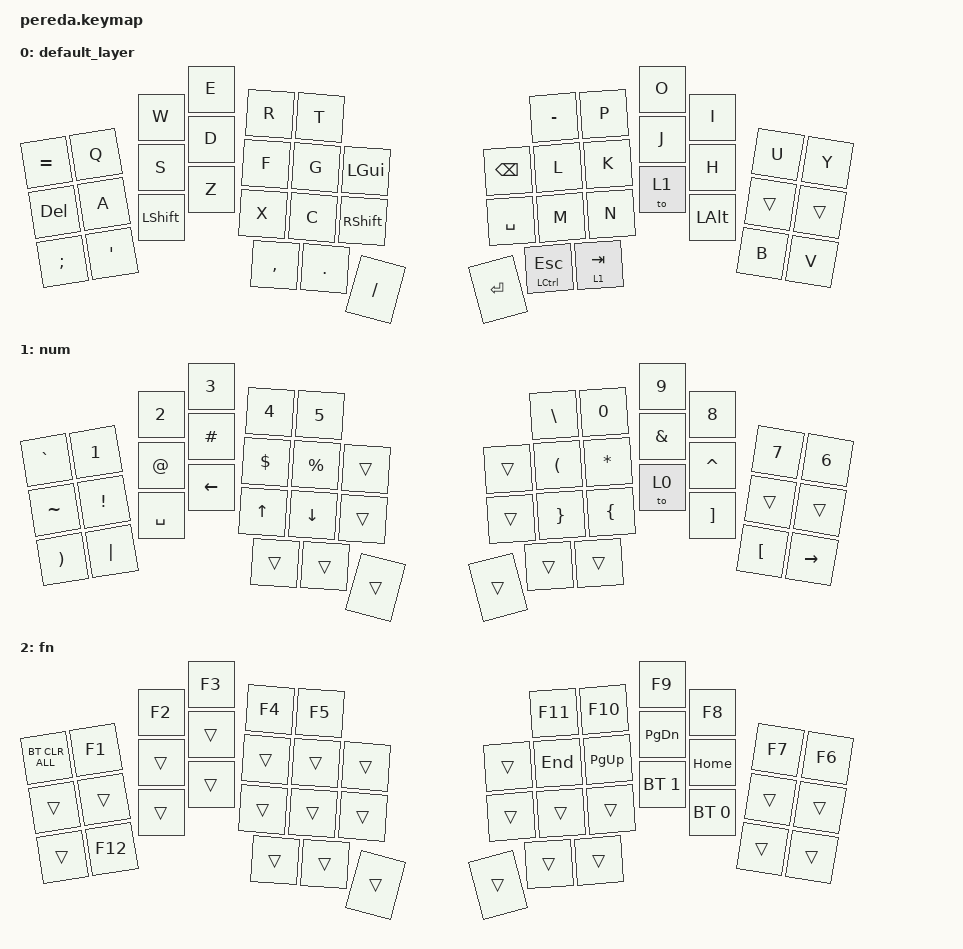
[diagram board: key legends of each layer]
#include <behaviors.dtsi>
#include <dt-bindings/zmk/bt.h>
#include <dt-bindings/zmk/keys.h>

&lt {
    tapping-term-ms = <300>;
    flavor = "hold-preferred";
};

/ {
    combos {
        compatible = "zmk,combos";

        layer_switch {
            bindings = <&mo 2>;
            key-positions = <41 40>;
            layers = <0>;
        };
    };

    keymap {
        compatible = "zmk,keymap";

        default_layer {
            bindings = <
&kp EQUAL   &kp Q  &kp W  &kp E  &kp R     &kp T                                 &kp Y      &kp U     &kp I      &kp O    &kp P     &kp MINUS
&kp DEL     &kp A  &kp S  &kp D  &kp F     &kp G      &trans            &trans   &kp H      &kp J     &kp K      &kp L    &kp SEMI  &kp APOS
&kp LSHIFT  &kp Z  &kp X  &kp C  &kp V     &kp B      &kp LALT          &to 1    &kp N      &kp M     &kp COMMA  &kp DOT  &kp FSLH  &kp RSHIFT
                                 &kp LGUI  &lt 1 TAB  &mt LCTRL ESCAPE  &kp RET  &kp SPACE  &kp BSPC
            >;
        };

        num {
            bindings = <
&kp GRAVE  &kp N1           &kp N2        &kp N3          &kp N4           &kp N5                                       &kp N6          &kp N7           &kp N8        &kp N9                &kp N0                 &kp BSLH
&kp TILDE  &kp EXCLAMATION  &kp AT_SIGN   &kp HASH        &kp DOLLAR       &kp PERCENT       &trans             &trans  &kp CARET       &kp AMPERSAND    &kp ASTERISK  &kp LEFT_PARENTHESIS  &kp RIGHT_PARENTHESIS  &kp PIPE
&kp SPACE  &kp LEFT_ARROW   &kp UP_ARROW  &kp DOWN_ARROW  &kp RIGHT_ARROW  &kp LEFT_BRACKET  &kp RIGHT_BRACKET  &to 0   &kp LEFT_BRACE  &kp RIGHT_BRACE  &trans        &trans                &trans                 &trans
                                                          &trans           &trans            &trans             &trans  &trans          &trans
            >;
        };

        fn {
            bindings = <
&bt BT_CLR_ALL  &kp F1  &kp F2  &kp F3  &kp F4  &kp F5                              &kp F6    &kp F7     &kp F8     &kp F9   &kp F10  &kp F11
&trans          &trans  &trans  &trans  &trans  &trans  &trans        &trans        &kp HOME  &kp PG_DN  &kp PG_UP  &kp END  &trans   &kp F12
&trans          &trans  &trans  &trans  &trans  &trans  &bt BT_SEL 0  &bt BT_SEL 1  &trans    &trans     &trans     &trans   &trans   &trans
                                        &trans  &trans  &trans        &trans        &trans    &trans
            >;
        };
    };
};
